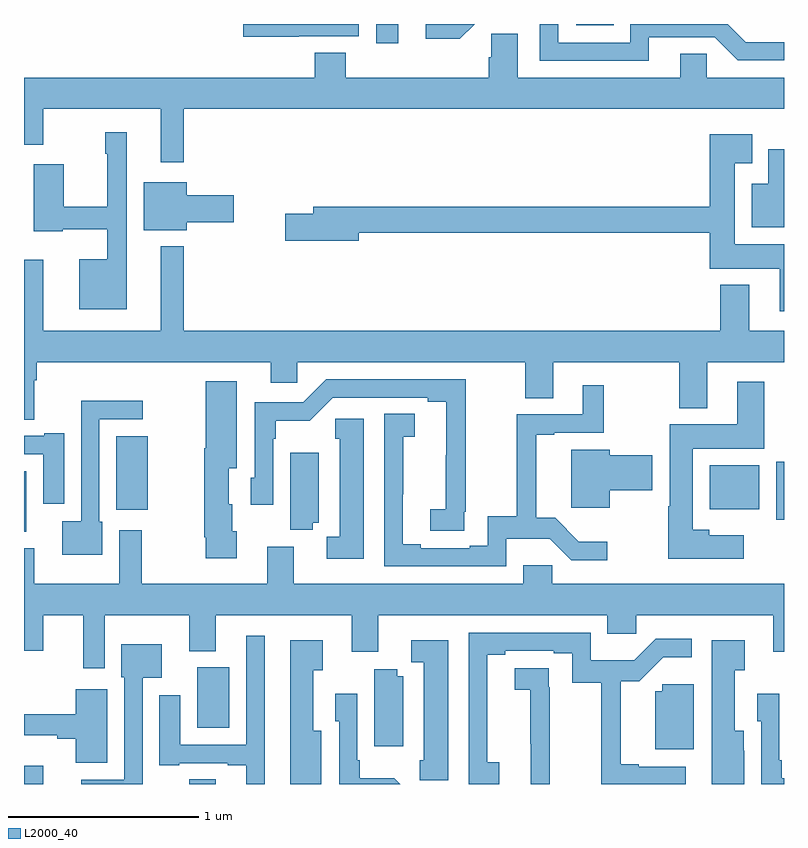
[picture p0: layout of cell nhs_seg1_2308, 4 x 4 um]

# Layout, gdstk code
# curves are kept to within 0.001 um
import gdstk
lib = gdstk.Library(unit=1e-6, precision=1e-09)
def R(c, l, rs):  # rectangles x0, y0, x1, y1
    for r in rs: c.add(gdstk.rectangle(r[:2], r[2:], *l))
def P(c, l, *ps):  # polygons
    for p in ps: c.add(gdstk.Polygon(p, *l))
L2000_40 = (2000, 40)

nhs_seg1_2308 = lib.new_cell('nhs_seg1_2308')
R(nhs_seg1_2308, L2000_40, [(237,528.199,237.1,528.295), (237.869,528.199,238.009,528.224), (237.911,528.494,238.081,528.814), (237,529.526,237.013,529.846), (240.959,529.589,241,529.894), (237.485,529.643,237.652,530.029), (240.608,529.646,240.871,529.876), (238.854,532.098,238.969,532.199), (239.907,532.193,240.105,532.199)])
P(nhs_seg1_2308, L2000_40, [(238.445,532.134),(238.761,532.134),(238.761,532.199),(238.153,532.199),(238.153,532.133),(238.445,532.133)],
  [(239.372,532.199),(239.115,532.199),(239.115,532.121),(239.293,532.121)],
  [(240.289,532.128),(240.636,532.128),(240.756,532.008),(241,532.008),(241,532.104),(240.798,532.104),(240.703,532.199),(240.192,532.199),(240.192,532.101),(239.811,532.101),(239.811,532.199),(239.715,532.199),(239.715,532.005),(240.289,532.005)],
  [(237.841,531.752),(241,531.752),(241,531.916),(240.594,531.916),(240.594,532.043),(240.455,532.043),(240.455,531.916),(239.599,531.916),(239.599,532.148),(239.46,532.148),(239.46,532.025),(239.447,532.025),(239.447,531.916),(238.694,531.916),(238.694,532.049),(238.529,532.049),(238.529,531.916),(237,531.916),(237,531.564),(237.1,531.564),(237.1,531.752),(237.719,531.752),(237.719,531.471),(237.841,531.471)],
  [(237.541,531.628),(237.427,531.628),(237.427,531.515),(237.437,531.515),(237.437,531.236),(237.208,531.236),(237.208,531.46),(237.05,531.46),(237.05,531.107),(237.204,531.107),(237.204,531.119),(237.437,531.119),(237.437,530.962),(237.29,530.962),(237.29,530.699),(237.541,530.699)],
  [(241,531.04),(240.742,531.04),(240.742,531.467),(240.832,531.467),(240.832,531.619),(240.608,531.619),(240.608,531.236),(238.523,531.236),(238.523,531.2),(238.374,531.2),(238.374,531.058),(238.762,531.058),(238.762,531.1),(240.608,531.1),(240.608,530.912),(240.977,530.912),(240.977,530.688),(241,530.688)],
  [(241,531.541),(240.917,531.541),(240.917,531.358),(240.83,531.358),(240.83,531.128),(241,531.128)],
  [(237.856,531.155),(238.105,531.155),(238.105,531.297),(237.856,531.297),(237.856,531.367),(237.629,531.367),(237.629,531.113),(237.856,531.113)],
  [(237.841,531.028),(237.719,531.028),(237.719,530.584),(237.1,530.584),(237.1,530.959),(237,530.959),(237,530.116),(237.055,530.116),(237.055,530.324),(237.068,530.324),(237.068,530.42),(238.298,530.42),(238.298,530.31),(238.437,530.31),(238.437,530.42),(239.638,530.42),(239.638,530.23),(239.785,530.23),(239.785,530.42),(240.448,530.42),(240.448,530.177),(240.595,530.177),(240.595,530.42),(241,530.42),(241,530.584),(240.817,530.584),(240.817,530.827),(240.665,530.827),(240.665,530.584),(237.841,530.584)],
  [(239.318,529.633),(239.324,529.633),(239.324,530.328),(238.59,530.328),(238.47,530.208),(238.215,530.208),(238.215,529.812),(238.194,529.812),(238.194,529.668),(238.311,529.668),(238.311,530.015),(238.324,530.015),(238.324,530.111),(238.505,530.111),(238.626,530.232),(239.126,530.232),(239.126,530.212),(239.222,530.212),(239.221,529.646),(239.139,529.646),(239.139,529.531),(239.318,529.531)],
  [(238.12,529.53),(238.096,529.53),(238.096,529.671),(238.078,529.671),(238.078,529.862),(238.12,529.862),(238.12,530.32),(237.956,530.32),(237.956,529.966),(237.949,529.966),(237.949,529.498),(237.956,529.498),(237.956,529.386),(238.12,529.386)],
  [(240.787,529.507),(240.607,529.507),(240.607,529.537),(240.52,529.537),(240.52,529.964),(240.895,529.964),(240.895,530.317),(240.755,530.317),(240.755,530.092),(240.398,530.092),(240.398,529.661),(240.391,529.661),(240.391,529.385),(240.787,529.385)],
  [(239.538,529.49),(239.767,529.49),(239.88,529.377),(240.07,529.377),(240.07,529.474),(239.921,529.474),(239.795,529.6),(239.696,529.6),(239.696,530.037),(239.791,530.037),(239.791,530.049),(240.052,530.049),(240.052,530.299),(239.942,530.299),(239.942,530.145),(239.593,530.145),(239.593,529.607),(239.442,529.607),(239.442,529.454),(239.345,529.454),(239.345,529.44),(239.089,529.44),(239.089,529.46),(238.993,529.46),(238.993,529.723),(238.995,529.723),(238.995,530.027),(239.056,530.027),(239.056,530.147),(238.896,530.147),(238.896,529.344),(239.538,529.344)],
  [(237.412,529.578),(237.396,529.578),(237.396,530.118),(237.625,530.118),(237.625,530.216),(237.3,530.216),(237.3,529.582),(237.2,529.582),(237.2,529.406),(237.412,529.406)],
  [(238.789,530.122),(238.639,530.122),(238.639,530.016),(238.661,530.016),(238.661,529.5),(238.593,529.5),(238.593,529.385),(238.789,529.385)],
  [(237.211,530.044),(237.107,530.044),(237.107,530.031),(237,530.031),(237,529.935),(237.101,529.935),(237.101,529.674),(237.211,529.674)],
  [(240.082,529.745),(240.307,529.745),(240.307,529.928),(240.082,529.928),(240.082,529.957),(239.879,529.957),(239.879,529.652),(240.082,529.652)],
  [(238.52,529.574),(238.552,529.574),(238.552,529.942),(238.4,529.942),(238.4,529.537),(238.52,529.537)],
  [(237.424,529.088),(237.869,529.088),(237.869,528.899),(238.009,528.899),(238.009,529.088),(238.724,529.088),(238.724,528.894),(238.864,528.894),(238.864,529.088),(240.071,529.088),(240.071,528.99),(240.223,528.99),(240.223,529.088),(240.944,529.088),(240.944,528.894),(241,528.894),(241,529.252),(239.779,529.252),(239.779,529.35),(239.627,529.35),(239.627,529.252),(238.42,529.252),(238.42,529.447),(238.28,529.447),(238.28,529.252),(237.621,529.252),(237.621,529.534),(237.5,529.534),(237.5,529.252),(237.055,529.252),(237.055,529.441),(237,529.441),(237,528.9),(237.1,528.9),(237.1,529.088),(237.311,529.088),(237.311,528.807),(237.424,528.807)],
  [(239.5,528.313),(239.439,528.313),(239.439,528.617),(239.437,528.617),(239.437,528.88),(239.533,528.88),(239.533,528.9),(239.789,528.9),(239.789,528.886),(239.886,528.886),(239.886,528.733),(240.037,528.733),(240.037,528.199),(240.484,528.199),(240.484,528.291),(240.235,528.291),(240.235,528.304),(240.14,528.304),(240.14,528.741),(240.239,528.741),(240.365,528.866),(240.514,528.866),(240.514,528.963),(240.324,528.963),(240.211,528.85),(239.982,528.85),(239.982,528.996),(239.34,528.996),(239.34,528.199),(239.5,528.199)],
  [(238.267,528.979),(238.17,528.979),(238.17,528.405),(237.823,528.405),(237.823,528.667),(237.713,528.667),(237.713,528.297),(237.817,528.297),(237.817,528.309),(238.073,528.309),(238.073,528.297),(238.169,528.297),(238.169,528.199),(238.267,528.199)],
  [(238.564,528.478),(238.522,528.478),(238.522,528.799),(238.573,528.799),(238.573,528.955),(238.4,528.955),(238.4,528.199),(238.564,528.199)],
  [(239.233,528.955),(239.037,528.955),(239.037,528.84),(239.105,528.84),(239.105,528.324),(239.083,528.324),(239.083,528.219),(239.233,528.219)],
  [(240.79,528.374),(240.789,528.374),(240.789,528.478),(240.742,528.478),(240.742,528.799),(240.793,528.799),(240.793,528.955),(240.62,528.955),(240.62,528.199),(240.79,528.199)],
  [(237.624,528.758),(237.724,528.758),(237.724,528.934),(237.512,528.934),(237.512,528.762),(237.528,528.762),(237.528,528.222),(237.3,528.222),(237.3,528.199),(237.624,528.199)],
  [(239.768,528.707),(239.762,528.707),(239.762,528.809),(239.583,528.809),(239.583,528.694),(239.665,528.694),(239.665,528.411),(239.666,528.411),(239.666,528.199),(239.768,528.199)],
  [(238.996,528.766),(238.964,528.766),(238.964,528.803),(238.844,528.803),(238.844,528.399),(238.996,528.399)],
  [(240.526,528.724),(240.36,528.724),(240.36,528.688),(240.323,528.688),(240.323,528.383),(240.526,528.383)],
  [(237.439,528.697),(237.272,528.697),(237.272,528.565),(237,528.565),(237,528.455),(237.176,528.455),(237.176,528.436),(237.272,528.436),(237.272,528.311),(237.439,528.311)],
  [(238.949,528.229),(238.768,528.229),(238.768,528.325),(238.755,528.325),(238.755,528.673),(238.638,528.673),(238.638,528.528),(238.659,528.528),(238.659,528.199),(238.979,528.199)],
  [(241,528.229),(240.988,528.229),(240.988,528.325),(240.975,528.325),(240.975,528.673),(240.858,528.673),(240.858,528.528),(240.879,528.528),(240.879,528.199),(241,528.199)])

lib.write_gds('nhs_seg1_2308.gds')
